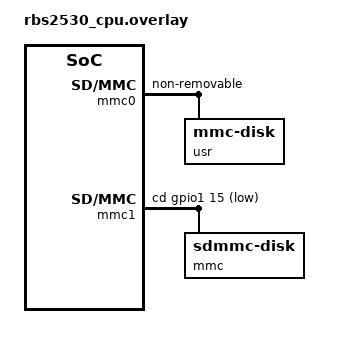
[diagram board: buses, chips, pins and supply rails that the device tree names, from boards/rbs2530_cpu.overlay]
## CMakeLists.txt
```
cmake_minimum_required(VERSION 3.20.0)

find_package(Zephyr REQUIRED HINTS $ENV{ZEPHYR_BASE})
project(file_sync)

target_sources(app PRIVATE src/main.c)
```

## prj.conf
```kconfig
CONFIG_LOG=y
CONFIG_PRINTK=y
CONFIG_MAIN_STACK_SIZE=4096
CONFIG_LOG_BUFFER_SIZE=8192

# For SDMMC/MMC read/write
CONFIG_SDHC=y
CONFIG_GPIO=y
CONFIG_DISK_DRIVER_SDMMC=y

# For FatFS support
CONFIG_DISK_ACCESS=y
CONFIG_FILE_SYSTEM=y
CONFIG_FAT_FILESYSTEM_ELM=y

CONFIG_FILE_SYSTEM_LITTLEFS=y
CONFIG_MMC_VOLUME_NAME="MMC"

# eMMC driver
CONFIG_SDHC=y
CONFIG_MMC_STACK=y

# littlefs for eMMC
CONFIG_DISK_ACCESS=y
CONFIG_DISK_DRIVER_MMC=y
CONFIG_FS_LITTLEFS_BLK_DEV=y
CONFIG_FS_LITTLEFS_HEAP_PER_ALLOC_OVERHEAD_SIZE=128

CONFIG_HEAP_MEM_POOL_SIZE=16384
```

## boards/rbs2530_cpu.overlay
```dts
/**
 * Copyright (c) 2025 SYSTech Co.
 * SPDX-License-Identifier: Apache-2.0
 */

#include <zephyr/dt-bindings/gpio/gpio.h>
#include <common/mem.h>

&mmc0 {
	status = "okay";
	non-removable;

	usr {
		compatible = "zephyr,mmc-disk";
		status = "okay";
		bus-width = <4>;
	};
};

&mmc1 {
	status = "okay";

	cd-gpios = <&gpio1 15 GPIO_ACTIVE_LOW>; // MIO47 is the SD card detect pin

	mmc {
		compatible = "zephyr,sdmmc-disk";
		status = "okay";
	};
};

&gpio1 {
	status = "okay";
};
```

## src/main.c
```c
/**
 * @file main.c
 * @brief
 * @copyright SYSFly Co.
 */

#include <zephyr/kernel.h>
#include <zephyr/device.h>
#include <zephyr/storage/disk_access.h>
#include <zephyr/fs/fs.h>
#include <zephyr/fs/littlefs.h>
#include <zephyr/storage/flash_map.h>
#include <ff.h>

#include <zephyr/logging/log.h>
LOG_MODULE_REGISTER(main);

#define CHUNK_SIZE (512)

#ifdef CONFIG_FAT_FILESYSTEM_ELM
#define FS_RET_OK FR_OK
#else
#define FS_RET_OK 0
#endif

#define MAX_PATH          128
#define SOME_FILE_NAME    "abc1.dat"
#define SOME_DIR_NAME     "abc1"
#define SOME_REQUIRED_LEN MAX(sizeof(SOME_FILE_NAME), sizeof(SOME_DIR_NAME))

#define SD_DRIVE_NAME "SD"
#define SD_MOUNT_PT   "/" SD_DRIVE_NAME ":"

static FATFS fat_fs_sd;
static struct fs_mount_t mp_sd = {
	.type = FS_FATFS,
	.fs_data = &fat_fs_sd,
	.mnt_point = SD_MOUNT_PT,
};

#if defined(CONFIG_DISK_DRIVER_MMC)
#define EMMC_DRIVE_NAME CONFIG_MMC_VOLUME_NAME
#define EMMC_MOUNT_PT   "/" EMMC_DRIVE_NAME ":"
#else
#error "No disk device defined, is your board supported?"
#endif

struct fs_littlefs lfsfs_emmc;
static struct fs_mount_t mp_emmc = {
	.type = FS_LITTLEFS,
	.fs_data = &lfsfs_emmc,
	.storage_dev = (void *)EMMC_DRIVE_NAME,
	.flags = FS_MOUNT_FLAG_USE_DISK_ACCESS,
	.mnt_point = EMMC_MOUNT_PT,
};
struct fs_mount_t *mountpoint = &mp_emmc;

#define SRC_FILE_PATH EMMC_MOUNT_PT "/" SOME_FILE_NAME
#define DST_FILE_PATH                                                                              \
	SD_MOUNT_PT "/"                                                                            \
		    "ABC1.DAT"

/* List dir entry by path
 *
 * @param path Absolute path to list
 *
 * @return Negative errno code on error, number of listed entries on
 *         success.
 */
static int lsdir(const char *path)
{
	int res;
	struct fs_dir_t dirp;
	static struct fs_dirent entry;
	int count = 0;

	fs_dir_t_init(&dirp);

	res = fs_opendir(&dirp, path);
	if (res) {
		LOG_ERR("Error opening dir %s [%d]", path, res);
		return res;
	}

	LOG_INF("\n ===============Listing dir %s===============\n", path);
	for (;;) {
		res = fs_readdir(&dirp, &entry);

		if (res || entry.name[0] == 0) {
			if (res < 0) {
				LOG_ERR("Error reading dir [%d]\n", res);
			}
			break;
		}

		if (entry.type == FS_DIR_ENTRY_DIR) {
			LOG_INF("[DIR ] %s\n", entry.name);
		} else {
			LOG_INF("[FILE] %s (size = %zu)\n", entry.name, entry.size);
		}
		count++;
	}

	fs_closedir(&dirp);
	if (res == 0) {
		res = count;
	}

	return res;
}

static bool create_abc1_entries(const char *base_path)
{
	char path[MAX_PATH];
	struct fs_file_t file;
	int base = strlen(base_path);

	fs_file_t_init(&file);

	if (base >= (sizeof(path) - SOME_REQUIRED_LEN)) {
		LOG_ERR("Not enough concatenation buffer to create file paths");
		return false;
	}

	/* Copy base path and append "/" and file name */
	strncpy(path, base_path, sizeof(path));

	path[base++] = '/';
	path[base] = 0;
	strcat(&path[base], SOME_FILE_NAME);

	/* Open file for create and write */
	if (fs_open(&file, path, FS_O_CREATE | FS_O_WRITE) != 0) {
		LOG_ERR("Failed to create file %s", path);
		return false;
	}

	uint8_t test_data[512] = {0};

	/* Prepare test data */
	for (int i = 0; i < sizeof(test_data); i++) {
		test_data[i] = i % 256;
	}

	/* Write test data to file */
	if (fs_write(&file, test_data, sizeof(test_data)) != sizeof(test_data)) {
		LOG_ERR("Write test data failed");
		fs_close(&file);
		return false;
	}

	/* Sync file to ensure data is written */
	if (fs_sync(&file) != 0) {
		LOG_WRN("File sync failed");
	}

	fs_close(&file);

	return true;
}

/**
 * @brief Transfer file from source to destination with verification
 *
 * Copies file contents between storage devices in chunks, performs
 * byte-to-byte comparison to ensure data integrity.
 *
 * @param src_path Absolute path of source file (must exist)
 * @param dst_path Absolute path of destination file (will be overwritten)
 * @retval 0 Transfer successful with content verified
 * @retval -EINVAL Invalid input parameters
 * @retval -ENOENT Source file not found
 * @retval -ENOMEM Memory allocation failure
 * @retval -EIO Data verification failed
 */
static int file_sync_transfer(const char *src_path, const char *dst_path)
{
	struct fs_file_t src_file, dst_file, src_cmp, dst_cmp;
	int rc = 0;
	struct fs_dirent entry;
	size_t total_size = 0;
	size_t remaining = 0;
	int chunk_size = 0;
	int read_size = 0;
	uint8_t *buffer = NULL;
	uint8_t *src_buffer = NULL;
	uint8_t *dst_buffer = NULL;
	size_t buf_size = CHUNK_SIZE;
	bool match = true;

	if (!src_path || !dst_path) {
		return -EINVAL;
	}

	/* Get source file information to validate existence and obtain file size */
	rc = fs_stat(src_path, &entry);
	if (rc != 0 || entry.type != FS_DIR_ENTRY_FILE) {
		LOG_ERR("Source file %s not found or is not a file", src_path);
		return -ENOENT;
	}
	total_size = entry.size;
	LOG_INF("File size: %zu bytes", total_size);
	LOG_INF("Transferring from %s to %s", src_path, dst_path);

	/* Allocate buffer size based on file size and pre-defined chunk size */
	buf_size = (total_size < CHUNK_SIZE) ? total_size : CHUNK_SIZE;
	buffer = k_malloc(buf_size);
	if (!buffer) {
		LOG_ERR("Failed to allocate buffer of size %zu", buf_size);
		return -ENOMEM;
	}

	fs_file_t_init(&src_file);
	fs_file_t_init(&dst_file);

	/* Open source file for reading */
	rc = fs_open(&src_file, src_path, FS_O_READ);
	if (rc != 0) {
		LOG_ERR("Failed to open source file %s", src_path);
		goto cleanup;
	}

	/* Open destination file for writing; create or truncate if exists */
	rc = fs_open(&dst_file, dst_path, FS_O_CREATE | FS_O_WRITE | FS_O_TRUNC);
	if (rc != 0) {
		LOG_ERR("Failed to open destination file %s", dst_path);
		goto cleanup;
	}

	remaining = total_size;
	while (remaining > 0) {
		chunk_size = MIN(remaining, CHUNK_SIZE);

		/* Read from source file */
		read_size = fs_read(&src_file, buffer, chunk_size);
		if (read_size < 0) {
			LOG_ERR("Read error: %d", read_size);
			goto cleanup;
		}
		if (read_size == 0) {
			LOG_WRN("Unexpected EOF while reading source file");
			break;
		}

		/* Write to destination file */
		rc = fs_write(&dst_file, buffer, read_size);
		if (rc < 0) {
			LOG_ERR("Write error: %d", rc);
			goto cleanup;
		}
		if (rc != read_size) {
			LOG_ERR("Write incomplete: %d of %d bytes", rc, read_size);
			goto cleanup;
		}

		remaining -= read_size;
	}

	/* ync destination file to ensure data is flushed */
	rc = fs_sync(&dst_file);
	if (rc != 0) {
		LOG_ERR("Failed to sync destination file: %d", rc);
		goto cleanup;
	}
	fs_close(&src_file);
	fs_close(&dst_file);

	/* Reopen source and destination files for data verification */
	fs_file_t_init(&src_cmp);
	fs_file_t_init(&dst_cmp);
	rc = fs_open(&src_cmp, src_path, FS_O_READ);
	if (rc != 0) {
		LOG_ERR("Failed to reopen source file for comparison");
		goto cleanup;
	}

	rc = fs_open(&dst_cmp, dst_path, FS_O_READ);
	if (rc != 0) {
		LOG_ERR("Failed to reopen destination file for comparison");
		fs_close(&src_cmp);
		goto cleanup;
	}

	/* Allocate buffers for comparing file data */
	src_buffer = k_malloc(CHUNK_SIZE);
	dst_buffer = k_malloc(CHUNK_SIZE);

	if (!src_buffer || !dst_buffer) {
		LOG_ERR("Failed to allocate compare buffers");
		rc = -ENOMEM;
		goto cleanup_cmp;
	}

	size_t pos = 0;

	while (pos < total_size) {
		chunk_size = MIN(total_size - pos, CHUNK_SIZE);

		/* Read chunk from source file */
		read_size = fs_read(&src_cmp, src_buffer, chunk_size);
		if (read_size <= 0 || (size_t)read_size != chunk_size) {
			LOG_ERR("Source read error: expect=%d actual=%d", chunk_size, read_size);
			match = false;

			break;
		}

		/* Read chunk from destination file */
		int dst_read = fs_read(&dst_cmp, dst_buffer, chunk_size);

		if (dst_read <= 0 || (size_t)dst_read != chunk_size) {
			LOG_ERR("Dest read error: expect=%d actual=%d", chunk_size, dst_read);
			match = false;
			break;
		}

		/* Compare the two chunks byte-to-byte */
		if (memcmp(src_buffer, dst_buffer, chunk_size) != 0) {
			LOG_ERR("Content mismatch at offset %zu", pos);
			match = false;
			break;
		}

		LOG_INF("Content match at offset %zu", pos);

		pos += chunk_size;
	}

	fs_close(&src_cmp);
	fs_close(&dst_cmp);

	if (!match) {
		rc = -EIO;
	} else {
		LOG_INF("Sync success: %zu bytes verified [%s] -> [%s]", total_size, src_path,
			dst_path);
	}
	goto cleanup;

cleanup_cmp:
	fs_close(&src_cmp);
	fs_close(&dst_cmp);

cleanup:
	fs_close(&src_file);
	fs_close(&dst_file);
	k_free(buffer);
	k_free(src_buffer);
	k_free(dst_buffer);
	return rc;
}

int main(void)
{
	k_msleep(1000);

	int rc;

	LOG_INF("Sample program to r/w files on littlefs\n");

	/* Mount the eMMC filesystem */
	rc = fs_mount(&mp_emmc);
	if (rc != FS_RET_OK) {
		LOG_ERR("MMC mount failed: %d", rc);
		return -1;
	}

	/* Delete source file if it exists (ignore error if not present) */
	if (fs_unlink(SRC_FILE_PATH) != 0) {
		LOG_INF("EMMC file not exist or delete failed");
	}
	LOG_INF("Creating abc1.dat in %s", mp_emmc.mnt_point);
	if (create_abc1_entries(mp_emmc.mnt_point)) {
		lsdir(mp_emmc.mnt_point);
	}

	k_msleep(1000);

	/* Mount the SD filesystem */
	rc = fs_mount(&mp_sd);
	if (rc != FS_RET_OK) {
		LOG_ERR("SD mount failed: %d", rc);
		return -1;
	}

	LOG_INF("SD card detecting: ABC1.DAT\n");

	/* Delete destination file if it exists (ignore error if not present) */
	if (fs_unlink(DST_FILE_PATH) != 0) {
		LOG_INF("SD file not exist or delete failed");
	}
	lsdir(mp_sd.mnt_point);

	/* Transfer file from source to destination and verify */
	if (file_sync_transfer(SRC_FILE_PATH, DST_FILE_PATH) != 0) {
		LOG_ERR("File sync transfer failed");
		return -1;
	}

	lsdir(mp_sd.mnt_point);
	return 0;
}
```
